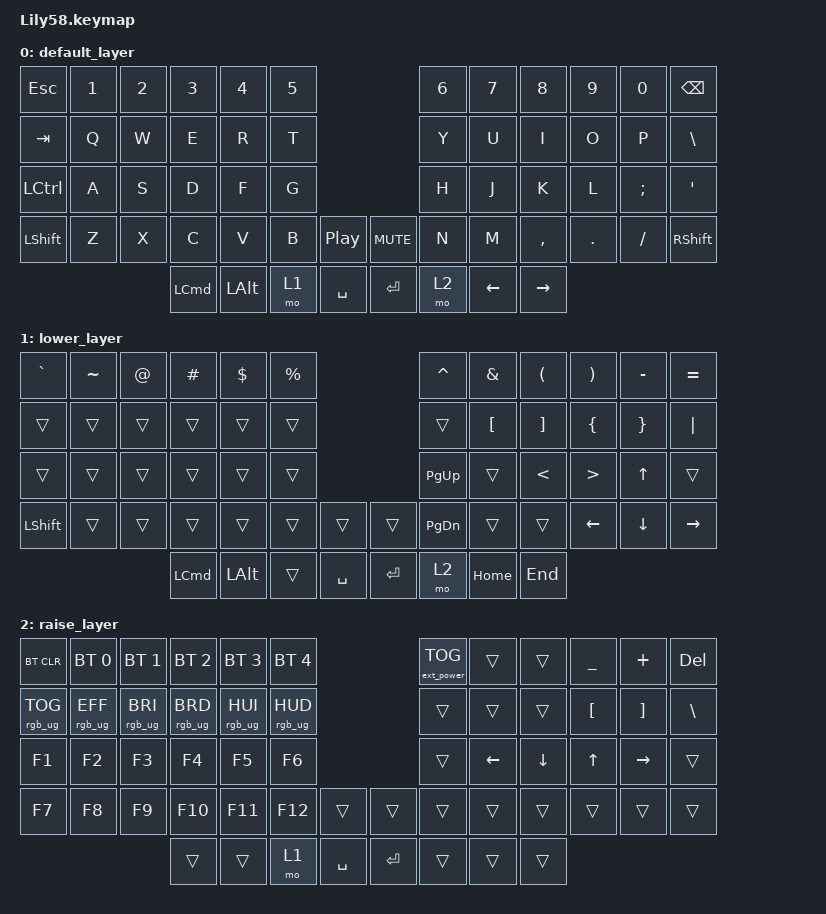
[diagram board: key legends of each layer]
/*
 * Copyright (c) 2020 The ZMK Contributors
 *
 * SPDX-License-Identifier: MIT
 */

#include <behaviors.dtsi>
#include <dt-bindings/zmk/keys.h>
#include <dt-bindings/zmk/bt.h>
#include <dt-bindings/zmk/rgb.h>
#include <dt-bindings/zmk/ext_power.h>

/ {
    keymap {
        compatible = "zmk,keymap";

        default_layer {
// ,-----------------------------------------.                    ,-----------------------------------------.
// | ESC  |   1  |   2  |   3  |   4  |   5  |                    |   6  |   7  |   8  |   9  |   0  |BckSp |
// |------+------+------+------+------+------|                    |------+------+------+------+------+------|
// | Tab  |   Q  |   W  |   E  |   R  |   T  |                    |   Y  |   U  |   I  |   O  |   P  |  \|  |
// |------+------+------+------+------+------|                    |------+------+------+------+------+------|
// | CTL  |   A  |   S  |   D  |   F  |   G  |-------.    ,-------|   H  |   J  |   K  |   L  |   ;  |  '   |
// |------+------+------+------+------+------|       |    |       |------+------+------+------+------+------|
// |LShift|   Z  |   X  |   C  |   V  |   B  |-------|    |-------|   N  |   M  |   ,  |   .  |   /  |RShift|
// `-----------------------------------------/       /     \      \-----------------------------------------'
//                   | GUI  | LAlt |LOWER | /Space  /       \Enter \  |RAISE | Left |Right |
//                   |      |      |      |/       /         \      \ |      |      |      |
//                   `----------------------------'           '------''--------------------'
            bindings = <
&kp ESC   &kp N1 &kp N2 &kp N3   &kp N4   &kp N5                       &kp N6 &kp N7   &kp N8    &kp N9  &kp N0   &kp BSPC
&kp TAB   &kp Q  &kp W  &kp E    &kp R    &kp T                        &kp Y  &kp U    &kp I     &kp O   &kp P    &kp BSLH
&kp LCTRL &kp A  &kp S  &kp D    &kp F    &kp G                        &kp H  &kp J    &kp K     &kp L   &kp SEMI &kp SQT
&kp LSHFT &kp Z  &kp X  &kp C    &kp V    &kp B  &kp C_PP   &kp C_MUTE &kp N  &kp M    &kp COMMA &kp DOT &kp FSLH &kp RSHFT
                         &kp LCMD  &kp LALT &mo 1  &kp SPACE  &kp RET   &mo 2  &kp LEFT &kp RIGHT
            >;
        };

        lower_layer {
// ,-----------------------------------------.                    ,-----------------------------------------.
// |   `  |   ~  |   @  |   #  |   $  |   %  |                    |   ^  |   &  |   (  |   )  |   -  |   =  |
// |------+------+------+------+------+------|                    |------+------+------+------+------+------|
// |      |      |      |      |      |      |                    |      |   [  |   ]  |   {  |   }  |  |   |
// |------+------+------+------+------+------|                    |------+------+------+------+------+------|
// |      |      |      |      |      |      |-------.    ,-------| PgUp |      |   <  |   >  |  Up  |      |
// |------+------+------+------+------+------|       |    |       |------+------+------+------+------+------|
// |LShift|      |      |      |      |      |-------|    |-------| PgDn |      |      | Left | Down |Right |
// `-----------------------------------------/       /     \      \-----------------------------------------'
//                   | GUI  | LAlt |LOWER | /Space  /       \Enter \  |RAISE | Home | End  |
//                   |      |      |      |/       /         \      \ |      |      |      |
//                   `----------------------------'           '------''--------------------'
            bindings = <
&kp GRAVE &kp TILDE &kp AT &kp HASH   &kp DOLLAR &kp PRCNT                    &kp CARET &kp AMPS &kp LPAR &kp RPAR &kp MINUS &kp EQUAL
&trans    &trans    &trans &trans      &trans     &trans                       &trans    &kp LBKT &kp RBKT &kp LBRC &kp RBRC  &kp PIPE
&trans    &trans    &trans &trans      &trans     &trans                       &kp PG_UP &trans   &kp LT   &kp GT   &kp UP    &trans
&kp LSHFT &trans    &trans &trans      &trans     &trans    &trans   &trans    &kp PG_DN &trans   &trans   &kp LEFT &kp DOWN  &kp RIGHT
                           &kp LCMD   &kp LALT   &trans    &kp SPACE &kp RET  &mo 2     &kp HOME &kp END
            >;
        };

        raise_layer {
// ,-----------------------------------------.                    ,-----------------------------------------.
// |BT_CLR| BT 0 | BT 1 | BT 2 | BT 3 | BT 4 |                  |EP_TOG|      |      |   _  |   +  | Del  |
// |------+------+------+------+------+------|                    |------+------+------+------+------+------|
// |RGBTOG|RGBEFF|RGB B+|RGB B-|RGB H+|RGB H-|                    |      |      |      |   [  |   ]  |  \   |
// |------+------+------+------+------+------|                    |------+------+------+------+------+------|
// |  F1  |  F2  |  F3  |  F4  |  F5  |  F6  |-------.    ,-------|      | Left | Down |  Up  |Right |      |
// |------+------+------+------+------+------|       |    |       |------+------+------+------+------+------|
// |  F7  |  F8  |  F9  | F10  | F11  | F12  |-------|    |-------|      |      |      |      |      |      |
// `-----------------------------------------/       /     \      \-----------------------------------------'
//                   |      |      |LOWER | /Space  /       \Enter \  |RAISE |      |      |
//                   |      |      |      |/       /         \      \ |      |      |      |
//                   `----------------------------'           '------''--------------------'
            bindings = <
&bt BT_CLR    &bt BT_SEL 0    &bt BT_SEL 1    &bt BT_SEL 2    &bt BT_SEL 3 &bt BT_SEL 4                    &ext_power EP_TOG &trans &trans &kp UNDER &kp PLUS &kp DEL
&rgb_ug RGB_TOG &rgb_ug RGB_EFF &rgb_ug RGB_BRI &rgb_ug RGB_BRD &rgb_ug RGB_HUI &rgb_ug RGB_HUD             &trans &trans   &trans   &kp LBKT  &kp RBKT &kp BSLH
&kp F1        &kp F2          &kp F3          &kp F4          &kp F5       &kp F6                           &trans &kp LEFT &kp DOWN &kp UP    &kp RIGHT &trans
&kp F7        &kp F8          &kp F9          &kp F10         &kp F11      &kp F12      &trans   &trans      &trans &trans   &trans   &trans    &trans    &trans
                                               &trans          &trans       &mo 1        &kp SPACE &kp RET   &trans &trans   &trans
            >;
        };
    };
};
